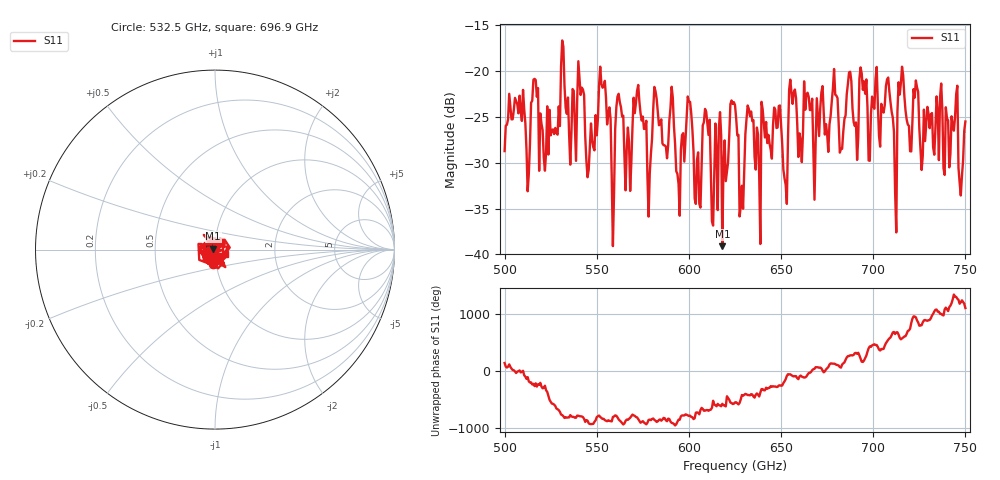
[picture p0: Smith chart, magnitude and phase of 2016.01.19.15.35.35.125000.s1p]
!Created with skrf (http://scikit-rf.org).
# GHz S RI R 50.0
!freq ReS11 ImS11
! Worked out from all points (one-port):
!   401 points, 500 GHz to 750 GHz, reference 50 ohm
!   lowest |S11| = -39.1 dB at 618.1 GHz (marker M1), VSWR 1.02, Z = 49.1 + j0.571 ohm
!   |S11| at or under -10 dB: start of sweep to end of sweep
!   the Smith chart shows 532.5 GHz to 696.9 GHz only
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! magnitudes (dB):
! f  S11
! 500 GHz  -28.7
! 512.5 GHz  -33.1
! 516.9 GHz  -21.0
! 522.5 GHz  -28.9
! 531.2 GHz  -16.6
! 535 GHz  -26.9
! 541.2 GHz  -22.6
! 545 GHz  -31.6
! 553.1 GHz  -21.8
! 558.8 GHz  -39.1
! 562.5 GHz  -23.4
! 578.8 GHz  -31.2
! 581.9 GHz  -22.2
! 590.6 GHz  -21.7
! 593.8 GHz  -31.2
! 600 GHz  -23.3
! 604.4 GHz  -29.7
! 608.8 GHz  -24.1
! 618.1 GHz  -39.1
! 625 GHz  -23.7
! 628.8 GHz  -32.5
! 632.5 GHz  -24.1
! 651.9 GHz  -31.7
! 656.2 GHz  -23.6
! 682.5 GHz  -28.5
! 687.5 GHz  -20.1
! 718.8 GHz  -25.8
! 750 GHz  -25.5
